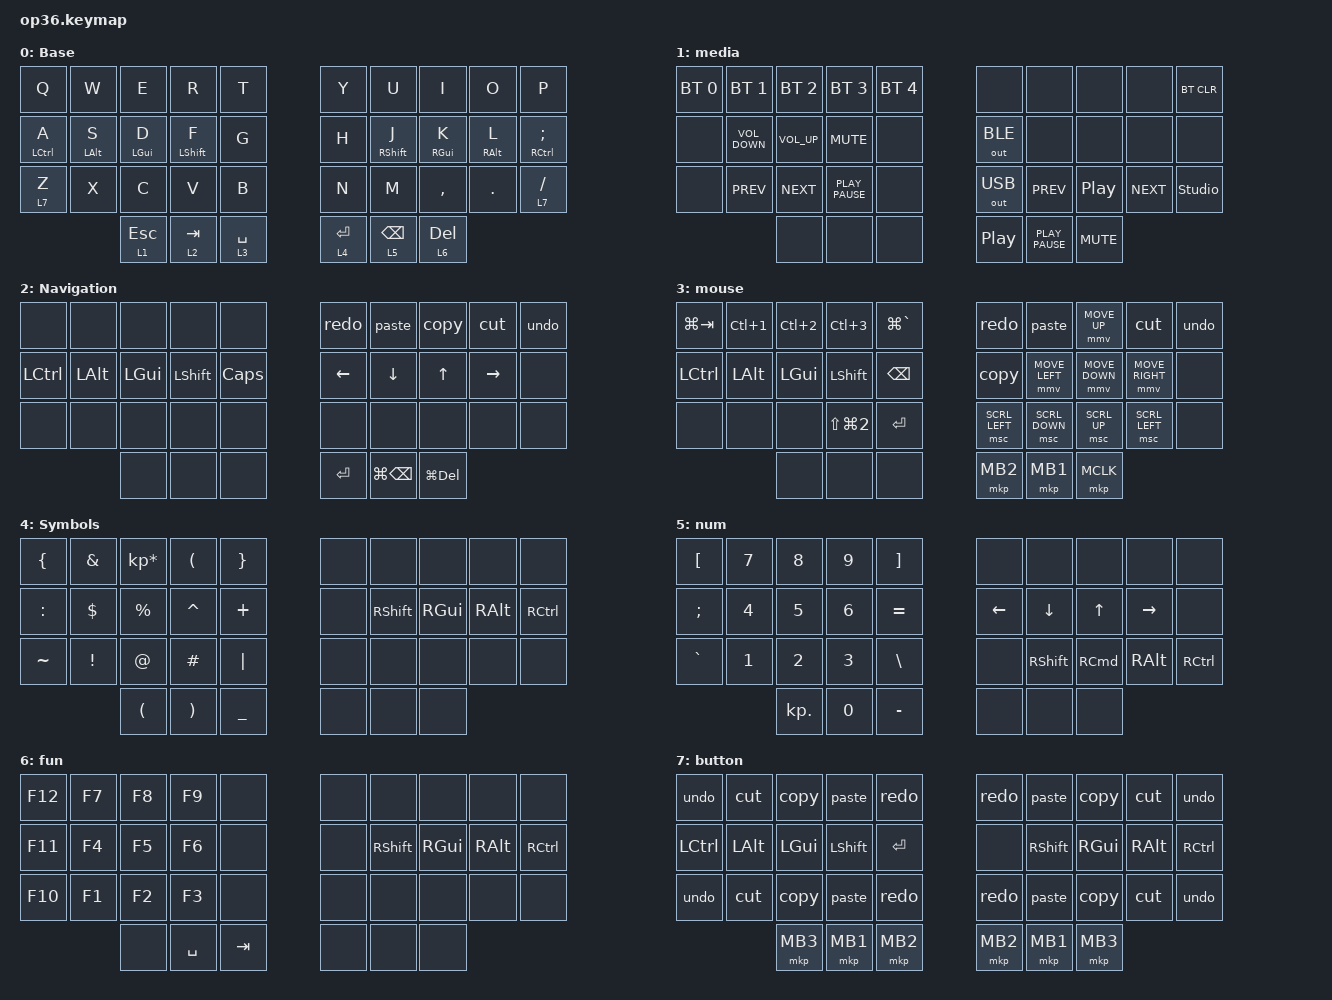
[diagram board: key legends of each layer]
#include "keys_ru.h"
#include <behaviors.dtsi>
#include <dt-bindings/zmk/bt.h>
#include <dt-bindings/zmk/keys.h>
#include <dt-bindings/zmk/outputs.h>
#include <dt-bindings/zmk/pointing.h>

&mt {
    quick-tap-ms = <200>;
    flavor = "tap-preferred";
    require-prior-idle-ms = <125>;
};

/ {
    behaviors {
        hml: home_row_mod_left {
            compatible = "zmk,behavior-hold-tap";
            #binding-cells = <2>;
            flavor = "balanced";
            require-prior-idle-ms = <150>;
            tapping-term-ms = <200>;
            quick-tap-ms = <175>;
            bindings = <&kp>, <&kp>;

            hold-trigger-key-positions = <5 6 7 8 9 15 16 17 18 19 25 26 27 28 29 33 34 35>;
            hold-trigger-on-release;
        };

        hmr: home_row_mod_right {
            compatible = "zmk,behavior-hold-tap";
            #binding-cells = <2>;
            flavor = "balanced";
            require-prior-idle-ms = <150>;
            tapping-term-ms = <200>;
            quick-tap-ms = <175>;
            bindings = <&kp>, <&kp>;

            hold-trigger-key-positions = <0 1 2 3 4 10 11 12 13 14 20 21 22 23 24 30 31 32>;
            hold-trigger-on-release;
        };
    };

    combos {
        compatible = "zmk,combos";

        kha {
            bindings = <&kp LBKT>;
            key-positions = <6 7>;
            timeout-ms = <200>;
            require-prior-idle-ms = <150>;
        };

        hrdsgn {
            bindings = <&kp RBKT>;
            key-positions = <7 8>;
            timeout-ms = <200>;
            require-prior-idle-ms = <150>;
        };

        e {
            bindings = <&kp RU_CYRILLIC_E>;
            key-positions = <18 19>;
            timeout-ms = <200>;
            require-prior-idle-ms = <150>;
        };
    };

    macros {
        copy: copy {
            compatible = "zmk,behavior-macro";
            #binding-cells = <0>;
            bindings = <&kp LG(C)>;
            label = "COPY";
        };

        paste: paste {
            compatible = "zmk,behavior-macro";
            #binding-cells = <0>;
            bindings = <&kp LG(V)>;
            label = "PASTE";
        };

        cut: cut {
            compatible = "zmk,behavior-macro";
            #binding-cells = <0>;
            bindings = <&kp LG(X)>;
            label = "CUT";
        };

        redo: redo {
            compatible = "zmk,behavior-macro";
            #binding-cells = <0>;
            bindings = <&kp LG(LS(Z))>;
            label = "REDO";
        };

        undo: undo {
            compatible = "zmk,behavior-macro";
            #binding-cells = <0>;
            bindings = <&kp LG(Z)>;
            label = "UNDO";
        };
    };

    keymap {
        compatible = "zmk,keymap";

        qwerty {
            display-name = "Base";
            bindings = <
  &kp Q         &kp W        &kp E            &kp R              &kp T                                  &kp Y            &kp U               &kp I             &kp O             &kp P
  &hml LCTRL A  &hml LALT S  &hml LEFT_GUI D  &hml LEFT_SHIFT F  &kp G                                  &kp H            &hmr RIGHT_SHIFT J  &hmr RIGHT_GUI K  &hmr RIGHT_ALT L  &hmr RCTRL SEMI
  &lt 7 Z       &kp X        &kp C            &kp V              &kp B                                  &kp N            &kp M               &kp COMMA         &kp DOT           &lt 7 FSLH
                                              &lt 1 ESC          &lt 2 TAB  &lt 3 SPACE    &lt 4 ENTER  &lt 5 BACKSPACE  &lt 6 DELETE
            >;
        };

        media {
            bindings = <
  &bt BT_SEL 0  &bt BT_SEL 1       &bt BT_SEL 2     &bt BT_SEL 3      &bt BT_SEL 4                             &none             &none       &none     &none       &bt BT_CLR
  &none         &kp C_VOLUME_DOWN  &kp C_VOLUME_UP  &kp K_MUTE        &none                                    &out OUT_BLE      &none       &none     &none       &none
  &none         &kp K_PREV         &kp K_NEXT       &kp K_PLAY_PAUSE  &none                                    &out OUT_USB      &kp C_PREV  &kp C_PP  &kp C_NEXT  &studio_unlock
                                                    &none             &none         &none    &kp C_PLAY_PAUSE  &kp K_PLAY_PAUSE  &kp C_MUTE
            >;

            display-name = "media";
        };

        nav {
            bindings = <
  &none      &none     &none         &none           &none                             &redo              &paste          &copy   &cut       &undo
  &kp LCTRL  &kp LALT  &kp LEFT_GUI  &kp LEFT_SHIFT  &kp CAPSLOCK                      &kp LEFT           &kp DOWN        &kp UP  &kp RIGHT  &none
  &none      &none     &none         &none           &none                             &none              &none           &none   &none      &none
                                     &none           &none         &none    &kp ENTER  &kp LG(BACKSPACE)  &kp LG(DELETE)
            >;

            display-name = "Navigation";
        };

        mouse {
            bindings = <
  &kp LG(TAB)  &kp LC(N1)    &kp LC(NUMBER_2)  &kp LC(NUMBER_3)      &kp LG(GRAVE)                     &redo           &paste          &mmv MOVE_UP    &cut             &undo
  &kp LCTRL    &kp LEFT_ALT  &kp LEFT_GUI      &kp LEFT_SHIFT        &kp BACKSPACE                     &copy           &mmv MOVE_LEFT  &mmv MOVE_DOWN  &mmv MOVE_RIGHT  &none
  &none        &none         &none             &kp LS(LG(NUMBER_2))  &kp ENTER                         &msc SCRL_LEFT  &msc SCRL_DOWN  &msc SCRL_UP    &msc SCRL_LEFT   &none
                                               &none                 &none          &none    &mkp MB2  &mkp MB1        &mkp MCLK
            >;
        };

        sym {
            bindings = <
  &kp LEFT_BRACE  &kp AMPERSAND  &kp KP_MULTIPLY  &kp LEFT_PARENTHESIS  &kp RIGHT_BRACE                            &none  &none            &none          &none          &none
  &kp COLON       &kp DOLLAR     &kp PERCENT      &kp CARET             &kp PLUS                                   &none  &kp RIGHT_SHIFT  &kp RIGHT_GUI  &kp RIGHT_ALT  &kp RCTRL
  &kp TILDE       &kp EXCL       &kp AT           &kp HASH              &kp PIPE                                   &none  &none            &none          &none          &none
                                                  &kp LEFT_PARENTHESIS  &kp RIGHT_PARENTHESIS  &kp UNDER    &none  &none  &none
            >;

            display-name = "Symbols";
        };

        num {
            bindings = <
  &kp LEFT_BRACKET  &kp NUMBER_7  &kp NUMBER_8  &kp NUMBER_9  &kp RIGHT_BRACKET                      &none     &none            &none              &none          &none
  &kp SEMI          &kp NUMBER_4  &kp NUMBER_5  &kp NUMBER_6  &kp EQUAL                              &kp LEFT  &kp DOWN         &kp UP             &kp RIGHT      &none
  &kp GRAVE         &kp NUMBER_1  &kp NUMBER_2  &kp NUMBER_3  &kp BACKSLASH                          &none     &kp RIGHT_SHIFT  &kp RIGHT_COMMAND  &kp RIGHT_ALT  &kp RIGHT_CONTROL
                                                &kp KP_DOT    &kp NUMBER_0       &kp MINUS    &none  &none     &none
            >;
        };

        fun {
            bindings = <
  &kp F12  &kp F7  &kp F8  &kp F9  &none                        &none  &none            &none          &none          &none
  &kp F11  &kp F4  &kp F5  &kp F6  &none                        &none  &kp RIGHT_SHIFT  &kp RIGHT_GUI  &kp RIGHT_ALT  &kp RCTRL
  &kp F10  &kp F1  &kp F2  &kp F3  &none                        &none  &none            &none          &none          &none
                           &none   &kp SPACE  &kp TAB    &none  &none  &none
            >;
        };

        button {
            bindings = <
  &undo      &cut          &copy         &paste          &redo                            &redo     &paste           &copy          &cut           &undo
  &kp LCTRL  &kp LEFT_ALT  &kp LEFT_GUI  &kp LEFT_SHIFT  &kp ENTER                        &none     &kp RIGHT_SHIFT  &kp RIGHT_GUI  &kp RIGHT_ALT  &kp RCTRL
  &undo      &cut          &copy         &paste          &redo                            &redo     &paste           &copy          &cut           &undo
                                         &mkp MB3        &mkp MB1   &mkp MB2    &mkp MB2  &mkp MB1  &mkp MB3
            >;
        };
    };
};
